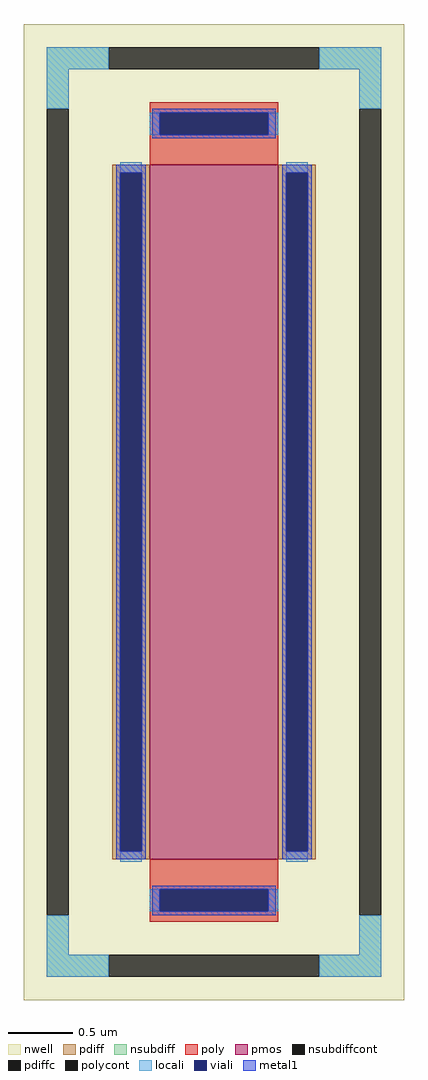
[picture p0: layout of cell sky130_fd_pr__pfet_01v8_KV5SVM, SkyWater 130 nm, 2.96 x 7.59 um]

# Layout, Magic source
magic
tech sky130A
magscale 1 2
<< nwell >>
rect -296 -759 296 759
<< pmos >>
rect -100 -540 100 540
<< pdiff >>
rect -158 528 -100 540
rect -158 -528 -146 528
rect -112 -528 -100 528
rect -158 -540 -100 -528
rect 100 528 158 540
rect 100 -528 112 528
rect 146 -528 158 528
rect 100 -540 158 -528
<< pdiffc >>
rect -146 -528 -112 528
rect 112 -528 146 528
<< nsubdiff >>
rect -260 689 -164 723
rect 164 689 260 723
rect -260 627 -226 689
rect 226 627 260 689
rect -260 -689 -226 -627
rect 226 -689 260 -627
rect -260 -723 -164 -689
rect 164 -723 260 -689
<< nsubdiffcont >>
rect -164 689 164 723
rect -260 -627 -226 627
rect 226 -627 260 627
rect -164 -723 164 -689
<< poly >>
rect -100 621 100 637
rect -100 587 -84 621
rect 84 587 100 621
rect -100 540 100 587
rect -100 -587 100 -540
rect -100 -621 -84 -587
rect 84 -621 100 -587
rect -100 -637 100 -621
<< polycont >>
rect -84 587 84 621
rect -84 -621 84 -587
<< locali >>
rect -260 689 -164 723
rect 164 689 260 723
rect -260 627 -226 689
rect 226 627 260 689
rect -100 587 -84 621
rect 84 587 100 621
rect -146 528 -112 544
rect -146 -544 -112 -528
rect 112 528 146 544
rect 112 -544 146 -528
rect -100 -621 -84 -587
rect 84 -621 100 -587
rect -260 -689 -226 -627
rect 226 -689 260 -627
rect -260 -723 -164 -689
rect 164 -723 260 -689
<< viali >>
rect -84 587 84 621
rect -146 -528 -112 528
rect 112 -528 146 528
rect -84 -621 84 -587
<< metal1 >>
rect -96 621 96 627
rect -96 587 -84 621
rect 84 587 96 621
rect -96 581 96 587
rect -152 528 -106 540
rect -152 -528 -146 528
rect -112 -528 -106 528
rect -152 -540 -106 -528
rect 106 528 152 540
rect 106 -528 112 528
rect 146 -528 152 528
rect 106 -540 152 -528
rect -96 -587 96 -581
rect -96 -621 -84 -587
rect 84 -621 96 -587
rect -96 -627 96 -621
<< properties >>
string FIXED_BBOX -243 -706 243 706
string gencell sky130_fd_pr__pfet_01v8
string library sky130
string parameters w 5.4 l 1.0 m 1 nf 1 diffcov 100 polycov 100 guard 1 glc 1 grc 1 gtc 1 gbc 1 tbcov 100 rlcov 100 topc 1 botc 1 poverlap 0 doverlap 1 lmin 0.15 wmin 0.42 compatible {sky130_fd_pr__pfet_01v8  sky130_fd_pr__pfet_01v8_lvt sky130_fd_pr__pfet_01v8_hvt  sky130_fd_pr__pfet_g5v0d10v5} full_metal 1 viasrc 100 viadrn 100 viagate 100 viagb 0 viagr 0 viagl 0 viagt 0
<< end >>
